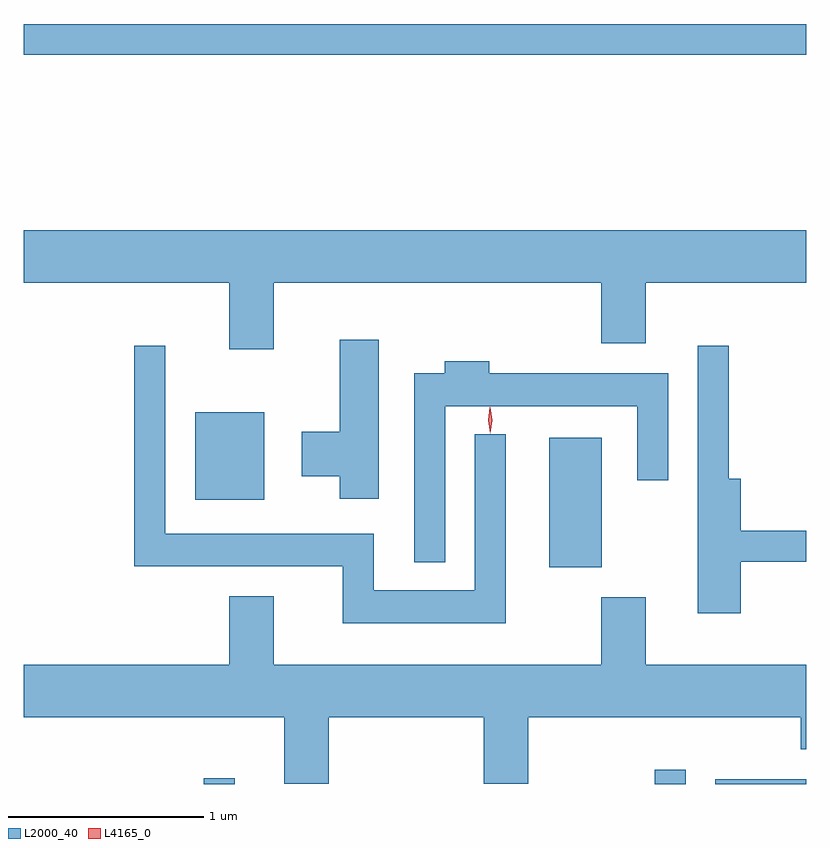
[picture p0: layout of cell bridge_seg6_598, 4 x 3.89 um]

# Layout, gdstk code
import gdstk
lib = gdstk.Library(unit=1e-6, precision=1e-09)
def R(c, l, rs):  # rectangles x0, y0, x1, y1
    for r in rs: c.add(gdstk.rectangle(r[:2], r[2:], *l))
def P(c, l, *ps):  # polygons
    for p in ps: c.add(gdstk.Polygon(p, *l))
L2000_40 = (2000, 40)
L4165_0 = (4165, 0)

bridge_seg6_598 = lib.new_cell('bridge_seg6_598')
R(bridge_seg6_598, L2000_40, [(523.921,1625.174,524.079,1625.203), (526.226,1625.174,526.384,1625.248), (526.536,1625.174,527,1625.199), (525.686,1626.281,525.954,1626.944), (523.876,1626.626,524.229,1627.074), (523,1628.901,527,1629.059)])
P(bridge_seg6_598, L2000_40, [(524.279,1627.736),(525.951,1627.736),(525.951,1627.426),(526.179,1627.426),(526.179,1627.736),(527,1627.736),(527,1628.004),(523,1628.004),(523,1627.736),(524.051,1627.736),(524.051,1627.396),(524.279,1627.396)],
  [(524.814,1627.444),(524.616,1627.444),(524.616,1626.974),(524.421,1626.974),(524.421,1626.746),(524.616,1626.746),(524.616,1626.631),(524.814,1626.631)],
  [(526.664,1626.311),(527,1626.311),(527,1626.469),(526.664,1626.469),(526.664,1626.734),(526.604,1626.734),(526.604,1627.413),(526.446,1627.413),(526.446,1626.046),(526.664,1626.046)],
  [(525.464,1626.963),(525.306,1626.963),(525.306,1626.164),(524.789,1626.164),(524.789,1626.454),(523.724,1626.454),(523.724,1627.413),(523.566,1627.413),(523.566,1626.286),(524.631,1626.286),(524.631,1625.996),(525.464,1625.996)],
  [(525.154,1627.106),(526.136,1627.106),(526.136,1626.728),(526.294,1626.728),(526.294,1627.274),(525.379,1627.274),(525.379,1627.334),(525.151,1627.334),(525.151,1627.274),(524.996,1627.274),(524.996,1626.308),(525.154,1626.308)],
  [(524.559,1625.516),(525.351,1625.516),(525.351,1625.176),(525.579,1625.176),(525.579,1625.516),(526.971,1625.516),(526.971,1625.351),(527,1625.351),(527,1625.784),(526.179,1625.784),(526.179,1626.129),(525.951,1626.129),(525.951,1625.784),(524.279,1625.784),(524.279,1626.134),(524.051,1626.134),(524.051,1625.784),(523,1625.784),(523,1625.516),(524.331,1625.516),(524.331,1625.176),(524.559,1625.176)])
P(bridge_seg6_598, L4165_0, [(525.384,1626.967),(525.384,1626.967),(525.374,1627.034),(525.383,1627.1),(525.384,1627.1),(525.384,1627.1),(525.394,1627.034),(525.384,1626.967)])

lib.write_gds('bridge_seg6_598.gds')
